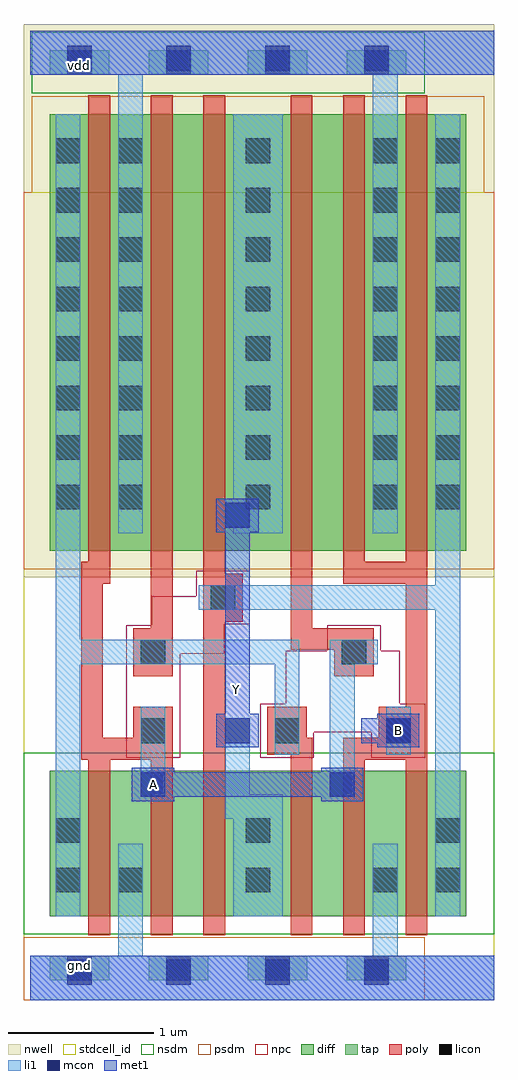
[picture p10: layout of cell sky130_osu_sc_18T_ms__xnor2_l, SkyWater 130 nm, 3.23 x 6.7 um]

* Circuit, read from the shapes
.subckt sky130_osu_sc_18T_ms__xnor2_l A B Y gnd vdd
XM1 gnd A n1 gnd sky130_fd_pr__nfet_01v8 w=1 l=0.15
XM2 n2 A gnd gnd sky130_fd_pr__nfet_01v8 w=1 l=0.15
XM3 Y n3 n2 gnd sky130_fd_pr__nfet_01v8 w=1 l=0.15
XM4 n4 n1 Y gnd sky130_fd_pr__nfet_01v8 w=1 l=0.15
XM5 gnd B n4 gnd sky130_fd_pr__nfet_01v8 w=1 l=0.15
XM6 n3 B gnd gnd sky130_fd_pr__nfet_01v8 w=1 l=0.15
XM7 vdd A n1 vdd sky130_fd_pr__pfet_01v8 w=3 l=0.15
XM8 n5 n1 vdd vdd sky130_fd_pr__pfet_01v8 w=3 l=0.15
XM9 Y n3 n5 vdd sky130_fd_pr__pfet_01v8 w=3 l=0.15
XM10 n6 A Y vdd sky130_fd_pr__pfet_01v8 w=3 l=0.15
XM11 vdd B n6 vdd sky130_fd_pr__pfet_01v8 w=3 l=0.15
XM12 n3 B vdd vdd sky130_fd_pr__pfet_01v8 w=3 l=0.15
.ends

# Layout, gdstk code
import gdstk
lib = gdstk.Library(unit=1e-6, precision=1e-09)
def R(c, l, rs):  # rectangles x0, y0, x1, y1
    for r in rs: c.add(gdstk.rectangle(r[:2], r[2:], *l))
def A(c, l, x, y, w, h, nx, ny, dx, dy):  # array of equal rectangles
    R(c, l, [(x+i*dx, y+j*dy, x+i*dx+w, y+j*dy+h) for i in range(nx) for j in range(ny)])
nwell = (64, 20)
diff = (65, 20)
tap = (65, 44)
poly = (66, 20)
licon = (66, 44)
li1 = (67, 20)
mcon = (67, 44)
met1 = (68, 20)
stdcell_id = (81, 4)
nsdm = (93, 44)
psdm = (94, 20)
npc = (95, 20)

sky130_osu_sc_18t_ms__xn = lib.new_cell('sky130_osu_sc_18T_ms__xnor2_l')
R(sky130_osu_sc_18t_ms__xn, nwell, [(-0.045,2.905,3.19,6.705)])
R(sky130_osu_sc_18t_ms__xn, diff, [(0.135,0.575,2.995,1.575), (0.135,3.085,2.995,6.085)])
A(sky130_osu_sc_18t_ms__xn, tap, 0.135, 0.135, 0.41, 0.17, 4, 2, 0.68, 6.22)
R(sky130_osu_sc_18t_ms__xn, poly, [(0.4,0.445,0.55,1.65), (0.83,0.445,0.98,1.65), (1.19,0.445,1.34,2.6), (1.79,0.445,1.94,1.685), (2.15,0.445,2.3,1.65), (2.58,0.445,2.73,1.65), (0.35,1.65,0.98,1.8), (2.15,1.65,2.73,1.8), (1.63,1.685,1.94,1.8), (0.35,1.8,0.5,2.86), (0.71,1.8,0.98,2.015), (1.63,1.8,1.9,2.015), (2.395,1.8,2.73,2.015), (2.58,2.015,2.73,2.86), (0.71,2.225,0.98,2.555), (2.09,2.225,2.36,2.405), (1.79,2.405,2.36,2.555), (0.83,2.555,0.98,6.215), (1.79,2.555,1.94,6.215), (1.19,2.6,1.46,2.93), (0.35,2.86,0.55,3.01), (2.15,2.86,2.73,3.01), (1.19,2.93,1.34,6.215), (0.4,3.01,0.55,6.215), (2.15,3.01,2.3,6.215), (2.58,3.01,2.73,6.215)])
A(sky130_osu_sc_18t_ms__xn, licon, 0.255, 0.135, 0.17, 0.17, 4, 2, 0.68, 6.22)
A(sky130_osu_sc_18t_ms__xn, licon, 0.605, 0.74, 0.17, 0.17, 3, 2, 0.875, 2.63)
A(sky130_osu_sc_18t_ms__xn, licon, 0.175, 1.08, 0.17, 0.17, 3, 1, 1.305, 0)
A(sky130_osu_sc_18t_ms__xn, licon, 0.175, 3.37, 0.17, 0.17, 1, 8, 0, 0.34)
A(sky130_osu_sc_18t_ms__xn, licon, 2.785, 3.37, 0.17, 0.17, 1, 8, 0, 0.34)
A(sky130_osu_sc_18t_ms__xn, licon, 0.605, 3.71, 0.17, 0.17, 3, 7, 0.875, 0.34)
R(sky130_osu_sc_18t_ms__xn, licon, [(0.175,0.74,0.345,0.91), (2.785,0.74,2.955,0.91), (0.76,1.765,0.93,1.935), (1.68,1.765,1.85,1.935), (2.445,1.765,2.615,1.935), (0.76,2.305,0.93,2.475), (2.14,2.305,2.31,2.475), (1.24,2.68,1.41,2.85)])
R(sky130_osu_sc_18t_ms__xn, li1, [(0,0,3.19,0.305), (0.605,0.305,0.775,1.075), (2.355,0.305,2.525,1.075), (0.175,0.575,0.345,2.305), (1.395,0.575,1.735,1.245), (2.785,0.575,2.955,2.68), (1.34,1.245,1.735,1.415), (0.76,1.395,0.93,2.015), (2.06,1.395,2.23,2.305), (1.34,1.415,1.51,1.935), (1.68,1.685,1.85,2.305), (2.445,1.685,2.615,2.015), (0.175,2.305,1.85,2.475), (2.06,2.305,2.39,2.475), (0.175,2.475,0.345,6.085), (1.16,2.68,2.955,2.85), (2.785,2.85,2.955,6.085), (0.605,3.205,0.775,6.355), (1.395,3.205,1.735,3.245), (2.355,3.205,2.525,6.355), (1.34,3.245,1.735,3.445), (1.395,3.445,1.735,6.085), (0,6.355,3.19,6.66)])
A(sky130_osu_sc_18t_ms__xn, mcon, 0.255, 0.105, 0.17, 0.17, 4, 2, 0.68, 6.28)
R(sky130_osu_sc_18t_ms__xn, mcon, [(0.76,1.395,0.93,1.565), (2.06,1.395,2.23,1.565), (1.34,1.765,1.51,1.935), (2.445,1.765,2.615,1.935), (1.34,3.245,1.51,3.415)])
R(sky130_osu_sc_18t_ms__xn, met1, [(0,0,3.19,0.305), (0.7,1.365,0.99,1.395), (2,1.365,2.29,1.395), (0.7,1.395,2.29,1.565), (0.7,1.565,0.99,1.595), (2,1.565,2.29,1.595), (1.28,1.735,1.57,1.965), (2.385,1.735,2.675,1.765), (2.275,1.765,2.675,1.935), (2.385,1.935,2.675,1.965), (1.34,1.965,1.51,3.215), (1.28,3.215,1.57,3.445), (0,6.355,3.19,6.66)])
R(sky130_osu_sc_18t_ms__xn, stdcell_id, [(-0.045,0,3.19,5.55)])
R(sky130_osu_sc_18t_ms__xn, nsdm, [(-0.045,0.45,3.19,1.7), (0.01,6.23,2.71,6.65)])
R(sky130_osu_sc_18t_ms__xn, psdm, [(-0.045,0,2.71,0.43), (-0.045,2.96,3.19,5.55), (0.01,5.55,3.12,6.21)])
R(sky130_osu_sc_18t_ms__xn, npc, [(0.66,1.665,1.03,2.38), (1.58,1.665,1.95,1.84), (2.345,1.665,2.715,1.84), (1.58,1.84,2.715,2.035), (1.755,2.035,2.54,2.4), (0.66,2.38,1.335,2.575), (2.04,2.4,2.41,2.575), (0.835,2.575,1.335,2.58), (0.835,2.58,1.51,2.775), (1.14,2.775,1.51,2.95)])
sky130_osu_sc_18t_ms__xn.add(gdstk.Label('gnd', (0.34,0.24), layer=68, texttype=16))
sky130_osu_sc_18t_ms__xn.add(gdstk.Label('vdd', (0.34,6.42), layer=68, texttype=16))
sky130_osu_sc_18t_ms__xn.add(gdstk.Label('A', (0.85,1.48), layer=68, texttype=5))
sky130_osu_sc_18t_ms__xn.add(gdstk.Label('B', (2.53,1.85), layer=68, texttype=5))
sky130_osu_sc_18t_ms__xn.add(gdstk.Label('Y', (1.42,2.135), layer=68, texttype=5))

lib.write_gds('sky130_osu_sc_18T_ms__xnor2_l.gds')
